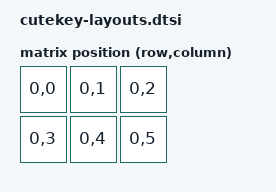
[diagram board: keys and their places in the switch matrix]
/*
 * Copyright (c) 2022 The ZMK Contributors
 *
 * SPDX-License-Identifier: MIT
 */

#include <dt-bindings/zmk/matrix_transform.h>
#include <physical_layouts.dtsi>

/ {
    /*
     * Physical key layout (2 rows × 3 columns):
     *
     *   Key0    Key2    Key4
     *   Key1    Key3    Key5
     *
     * GPIO mapping:
     *   0.20  0.29  1.15
     *   0.22  1.00  0.02
     */

    default_transform: matrix_transform {
        compatible = "zmk,matrix-transform";
        rows = <1>;
        columns = <6>;
        map = <
            RC(0,0) RC(0,1) RC(0,2) RC(0,3) RC(0,4) RC(0,5)
        >;
    };

    cutekey_layout: cutekey_physical_layout {
        compatible = "zmk,physical-layout";
        display-name = "CuteKey";
        transform = <&default_transform>;
        kscan = <&default_kscan>;
        keys  //         w    h    x    y   rot  rx   ry
            = <&key_physical_attrs 100 100   0   0    0   0   0>
            , <&key_physical_attrs 100 100 100   0    0   0   0>
            , <&key_physical_attrs 100 100 200   0    0   0   0>
            , <&key_physical_attrs 100 100   0 100    0   0   0>
            , <&key_physical_attrs 100 100 100 100    0   0   0>
            , <&key_physical_attrs 100 100 200 100    0   0   0>
            ;
    };
};
